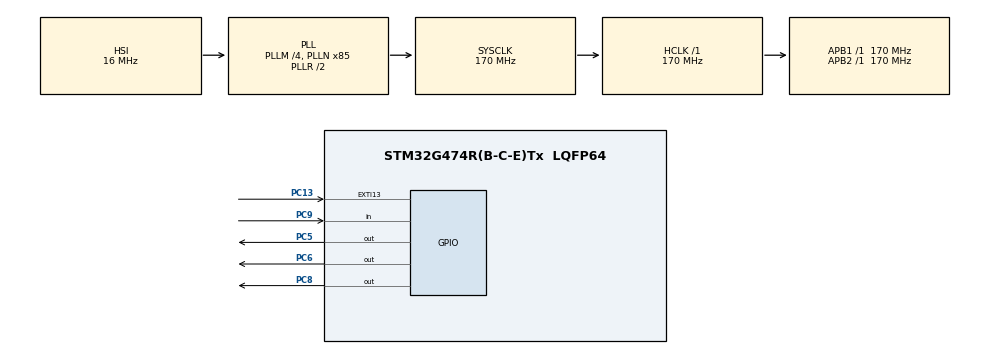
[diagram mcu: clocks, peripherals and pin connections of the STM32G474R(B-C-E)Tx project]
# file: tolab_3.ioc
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Mcu.Family=STM32G4
Mcu.Name=STM32G474R(B-C-E)Tx
Mcu.Package=LQFP64
NVIC.EXTI15_10_IRQn=true\:0\:0\:false\:false\:true\:true\:true\:true
NVIC.PriorityGroup=NVIC_PRIORITYGROUP_4
PA13.GPIO_Label=T_SWDIO
PA13.Signal=SYS_JTMS-SWDIO
PA14.GPIO_Label=T_SWCLK
PA14.Signal=SYS_JTCK-SWCLK
PA2.GPIO_Label=LPUART1_TX [STLINKV3E_VCP_RX]
PA2.Signal=LPUART1_TX
PA3.GPIO_Label=LPUART1_RX [STLINKV3E_VCP_TX]
PA3.Signal=LPUART1_RX
PB3.GPIO_Label=T_SWO
PB3.Signal=SYS_JTDO-SWO
PC13.GPIO_ModeDefaultEXTI=GPIO_MODE_IT_RISING
PC13.GPIO_PuPd=GPIO_NOPULL
PC13.Signal=GPXTI13
PC14-OSC32_IN.GPIO_Label=RCC_OSC32_IN
PC14-OSC32_IN.Signal=RCC_OSC32_IN
PC15-OSC32_OUT.GPIO_Label=RCC_OSC32_OUT
PC15-OSC32_OUT.Signal=RCC_OSC32_OUT
PC5.Signal=GPIO_Output
PC6.Signal=GPIO_Output
PC8.Signal=GPIO_Output
PC9.GPIO_PuPd=GPIO_PULLUP
PC9.Signal=GPIO_Input
PF0-OSC_IN.GPIO_Label=RCC_OSC_IN
PF0-OSC_IN.Signal=RCC_OSC_IN
PF1-OSC_OUT.GPIO_Label=RCC_OSC_OUT
PF1-OSC_OUT.Signal=RCC_OSC_OUT
ProjectManager.HeapSize=0x200
ProjectManager.StackSize=0x400
ProjectManager.TargetToolchain=STM32CubeIDE
RCC.ADC12Freq_Value=170000000
RCC.ADC345Freq_Value=170000000
RCC.AHBFreq_Value=170000000
RCC.APB1Freq_Value=170000000
RCC.APB1TimFreq_Value=170000000
RCC.APB2Freq_Value=170000000
RCC.APB2TimFreq_Value=170000000
RCC.CortexFreq_Value=170000000
RCC.EXTERNAL_CLOCK_VALUE=12288000
RCC.HCLKFreq_Value=170000000
RCC.HSE_VALUE=24000000
RCC.HSI48_VALUE=48000000
RCC.HSI_VALUE=16000000
RCC.LSE_VALUE=32768
RCC.PLLM=RCC_PLLM_DIV4
RCC.PLLN=85
RCC.RTCClockSelection=RCC_RTCCLKSOURCE_LSE
RCC.SYSCLKFreq_VALUE=170000000
RCC.SYSCLKSource=RCC_SYSCLKSOURCE_PLLCLK
RCC.USBFreq_Value=170000000
RCC.VCOOutputFreq_Value=340000000
VP_SYS_VS_DBSignals.Mode=DisableDeadBatterySignals
board=NUCLEO-G474RE

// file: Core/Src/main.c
/* USER CODE BEGIN Header */
/**
  ******************************************************************************
  * @file           : main.c
  * @brief          : Main program body
  ******************************************************************************
  * @attention
  *
  * Copyright (c) 2026 STMicroelectronics.
  * All rights reserved.
  *
  * This software is licensed under terms that can be found in the LICENSE file
  * in the root directory of this software component.
  * If no LICENSE file comes with this software, it is provided AS-IS.
  *
  ******************************************************************************
  */
/* USER CODE END Header */
#include "main.h"

/* USER CODE BEGIN PD */
#define STATE_NORMAL    0
#define STATE_WARNING   1
#define STATE_EMERGENCY 2
/* USER CODE END PD */

/* USER CODE BEGIN PV */
int current_state = STATE_NORMAL; // 初始化狀態為 NORMAL
uint32_t previous_tick = 0;       // 用於 Tick-based 計時
uint32_t warning_start_tick = 0;  // 用於 Warning 狀態的 5 秒逾時計算
int stop_flag = 0;                // EXTI 中斷用的 Flag
/* USER CODE END PV */

void SystemClock_Config(void);
static void MX_GPIO_Init(void);

int main(void)
{

  /* MCU Configuration--------------------------------------------------------*/

  /* Reset of all peripherals, Initializes the Flash interface and the Systick. */
  HAL_Init();

  /* Configure the system clock */
  SystemClock_Config();

  /* Initialize all configured peripherals */
  MX_GPIO_Init();

  /* Infinite loop */
  while (1)
  {

    /* USER CODE BEGIN 3 */

	      uint32_t current_tick = HAL_GetTick(); // 取得當前時間

	      // 1. 處理緊急停止中斷事件 (最高優先級)
	      if (stop_flag == 1)
	      {
	        current_state = STATE_EMERGENCY;
	        stop_flag = 0; // 清除 flag
	        // 確保進入緊急狀態時，其他燈關閉，紅燈亮起
	        HAL_GPIO_WritePin(GPIOC, GPIO_PIN_8, GPIO_PIN_RESET); // 綠燈關
	        HAL_GPIO_WritePin(GPIOC, GPIO_PIN_5, GPIO_PIN_RESET); // 黃燈關
	        HAL_GPIO_WritePin(GPIOC, GPIO_PIN_6, GPIO_PIN_SET);   // 紅燈亮
	      }

	      // 2. FSM 狀態行為與轉移
	      if (current_state == STATE_NORMAL)
	      {
	        // --- Normal 狀態行為 (綠燈 1Hz 閃爍) ---
	        HAL_GPIO_WritePin(GPIOC, GPIO_PIN_5, GPIO_PIN_RESET); // 黃燈關
	        HAL_GPIO_WritePin(GPIOC, GPIO_PIN_6, GPIO_PIN_RESET); // 紅燈關

	        if (current_tick - previous_tick >= 500) // 1Hz = 1000ms 週期 = 每 500ms 翻轉一次
	        {
	          previous_tick = current_tick;
	          HAL_GPIO_TogglePin(GPIOC, GPIO_PIN_8); // 翻轉綠燈
	        }

	        // --- Normal 狀態轉移事件偵測 ---
	        // 偵測 MODE 按鈕 (PC9)，Active low (按下為 LOW)
	        if (HAL_GPIO_ReadPin(GPIOC, GPIO_PIN_9) == GPIO_PIN_RESET)
	        {
	          HAL_Delay(50); // 按鍵 Debounce (僅限此處使用 delay)
	          if (HAL_GPIO_ReadPin(GPIOC, GPIO_PIN_9) == GPIO_PIN_RESET)
	          {
	            current_state = STATE_WARNING;
	            previous_tick = HAL_GetTick(); // 重新計算閃爍時間 (重要知識缺口)
	            warning_start_tick = HAL_GetTick(); // 記錄 Warning 開始時間

	            // 等待按鍵放開
	            while(HAL_GPIO_ReadPin(GPIOC, GPIO_PIN_9) == GPIO_PIN_RESET);
	          }
	        }
	      }
	      else if (current_state == STATE_WARNING)
	      {
	        // --- Warning 狀態行為 (黃燈 2Hz 閃爍) ---
	        HAL_GPIO_WritePin(GPIOC, GPIO_PIN_8, GPIO_PIN_RESET); // 綠燈關
	        HAL_GPIO_WritePin(GPIOC, GPIO_PIN_6, GPIO_PIN_RESET); // 紅燈關

	        if (current_tick - previous_tick >= 250) // 2Hz = 500ms 週期 = 每 250ms 翻轉一次
	        {
	          previous_tick = current_tick;
	          HAL_GPIO_TogglePin(GPIOC, GPIO_PIN_5); // 翻轉黃燈
	        }

	        // --- Warning 狀態轉移事件偵測 ---
	        // 1. 偵測 MODE 按鈕切換回 NORMAL
	        if (HAL_GPIO_ReadPin(GPIOC, GPIO_PIN_9) == GPIO_PIN_RESET)
	        {
	          HAL_Delay(50);
	          if (HAL_GPIO_ReadPin(GPIOC, GPIO_PIN_9) == GPIO_PIN_RESET)
	          {
	            current_state = STATE_NORMAL;
	            previous_tick = HAL_GetTick();
	            while(HAL_GPIO_ReadPin(GPIOC, GPIO_PIN_9) == GPIO_PIN_RESET);
	          }
	        }
	        // 2. 偵測 5 秒逾時自動返回 NORMAL (根據簡報 p.16 的狀態圖)
	        else if (current_tick - warning_start_tick >= 5000)
	        {
	            current_state = STATE_NORMAL;
	            previous_tick = HAL_GetTick();
	        }
	      }
	      else if (current_state == STATE_EMERGENCY)
	      {
	        // --- Emergency 狀態行為 (紅燈恆亮) ---
	        // (其實在 stop_flag 處理時已經設定亮燈了，這裡維持現狀即可)

	        // --- Emergency 狀態轉移事件偵測 ---
	        // 這裡假設需要實作 RESET 功能才能離開緊急狀態。
	        // 簡報 p.10 的表格提到 Emergency 收到 reset 會回到 Normal。
	        // 但硬體限制 (p.14) 中並未指定獨立的 RESET 按鈕腳位。
	        // 通常 NUCLEO 板上黑色的按鈕是硬體 Reset (會整個晶片重啟)。
	        // 若依賴硬體 Reset，程式就會重新從頭執行，自然回到 Normal。
	        // 若需用軟體復歸，需確認是要按哪個按鍵當作軟體 Reset。
	        // 暫時這裡不需要寫額外的軟體 Reset 邏輯，若按下板上的黑色 RESET 鍵，系統重啟即符合需求。
	      }

	    }
  /* USER CODE END 3 */
}

void SystemClock_Config(void)
{
  RCC_OscInitTypeDef RCC_OscInitStruct = {0};
  RCC_ClkInitTypeDef RCC_ClkInitStruct = {0};

  /** Configure the main internal regulator output voltage
  */
  HAL_PWREx_ControlVoltageScaling(PWR_REGULATOR_VOLTAGE_SCALE1_BOOST);

  /** Initializes the RCC Oscillators according to the specified parameters
  * in the RCC_OscInitTypeDef structure.
  */
  RCC_OscInitStruct.OscillatorType = RCC_OSCILLATORTYPE_HSI;
  RCC_OscInitStruct.HSIState = RCC_HSI_ON;
  RCC_OscInitStruct.HSICalibrationValue = RCC_HSICALIBRATION_DEFAULT;
  RCC_OscInitStruct.PLL.PLLState = RCC_PLL_ON;
  RCC_OscInitStruct.PLL.PLLSource = RCC_PLLSOURCE_HSI;
  RCC_OscInitStruct.PLL.PLLM = RCC_PLLM_DIV4;
  RCC_OscInitStruct.PLL.PLLN = 85;
  RCC_OscInitStruct.PLL.PLLP = RCC_PLLP_DIV2;
  RCC_OscInitStruct.PLL.PLLQ = RCC_PLLQ_DIV2;
  RCC_OscInitStruct.PLL.PLLR = RCC_PLLR_DIV2;
  if (HAL_RCC_OscConfig(&RCC_OscInitStruct) != HAL_OK)
  {
    Error_Handler();
  }

  /** Initializes the CPU, AHB and APB buses clocks
  */
  RCC_ClkInitStruct.ClockType = RCC_CLOCKTYPE_HCLK|RCC_CLOCKTYPE_SYSCLK
                              |RCC_CLOCKTYPE_PCLK1|RCC_CLOCKTYPE_PCLK2;
  RCC_ClkInitStruct.SYSCLKSource = RCC_SYSCLKSOURCE_PLLCLK;
  RCC_ClkInitStruct.AHBCLKDivider = RCC_SYSCLK_DIV1;
  RCC_ClkInitStruct.APB1CLKDivider = RCC_HCLK_DIV1;
  RCC_ClkInitStruct.APB2CLKDivider = RCC_HCLK_DIV1;

  if (HAL_RCC_ClockConfig(&RCC_ClkInitStruct, FLASH_LATENCY_4) != HAL_OK)
  {
    Error_Handler();
  }
}

static void MX_GPIO_Init(void)
{
  GPIO_InitTypeDef GPIO_InitStruct = {0};

  /* GPIO Ports Clock Enable */
  __HAL_RCC_GPIOC_CLK_ENABLE();
  __HAL_RCC_GPIOF_CLK_ENABLE();
  __HAL_RCC_GPIOA_CLK_ENABLE();
  __HAL_RCC_GPIOB_CLK_ENABLE();

  /*Configure GPIO pin Output Level */
  HAL_GPIO_WritePin(GPIOC, GPIO_PIN_5|GPIO_PIN_6|GPIO_PIN_8, GPIO_PIN_RESET);

  /*Configure GPIO pin : PC13 */
  GPIO_InitStruct.Pin = GPIO_PIN_13;
  GPIO_InitStruct.Mode = GPIO_MODE_IT_RISING;
  GPIO_InitStruct.Pull = GPIO_NOPULL;
  HAL_GPIO_Init(GPIOC, &GPIO_InitStruct);

  /*Configure GPIO pins : LPUART1_TX_Pin LPUART1_RX_Pin */
  GPIO_InitStruct.Pin = LPUART1_TX_Pin|LPUART1_RX_Pin;
  GPIO_InitStruct.Mode = GPIO_MODE_AF_PP;
  GPIO_InitStruct.Pull = GPIO_NOPULL;
  GPIO_InitStruct.Speed = GPIO_SPEED_FREQ_LOW;
  GPIO_InitStruct.Alternate = GPIO_AF12_LPUART1;
  HAL_GPIO_Init(GPIOA, &GPIO_InitStruct);

  /*Configure GPIO pins : PC5 PC6 PC8 */
  GPIO_InitStruct.Pin = GPIO_PIN_5|GPIO_PIN_6|GPIO_PIN_8;
  GPIO_InitStruct.Mode = GPIO_MODE_OUTPUT_PP;
  GPIO_InitStruct.Pull = GPIO_NOPULL;
  GPIO_InitStruct.Speed = GPIO_SPEED_FREQ_LOW;
  HAL_GPIO_Init(GPIOC, &GPIO_InitStruct);

  /*Configure GPIO pin : PC9 */
  GPIO_InitStruct.Pin = GPIO_PIN_9;
  GPIO_InitStruct.Mode = GPIO_MODE_INPUT;
  GPIO_InitStruct.Pull = GPIO_PULLUP;
  HAL_GPIO_Init(GPIOC, &GPIO_InitStruct);

  /* EXTI interrupt init*/
  HAL_NVIC_SetPriority(EXTI15_10_IRQn, 0, 0);
  HAL_NVIC_EnableIRQ(EXTI15_10_IRQn);

}

/* USER CODE BEGIN 4 */
void HAL_GPIO_EXTI_Callback(uint16_t GPIO_Pin)
{
  if (GPIO_Pin == GPIO_PIN_13) // 確認是 STOP 按鈕 (PC13) 觸發
  {
    stop_flag = 1; // 設定緊急停止 Flag
  }
}
/* USER CODE END 4 */

void Error_Handler(void)
{
  __disable_irq();
  while (1)
  {
  }
}
